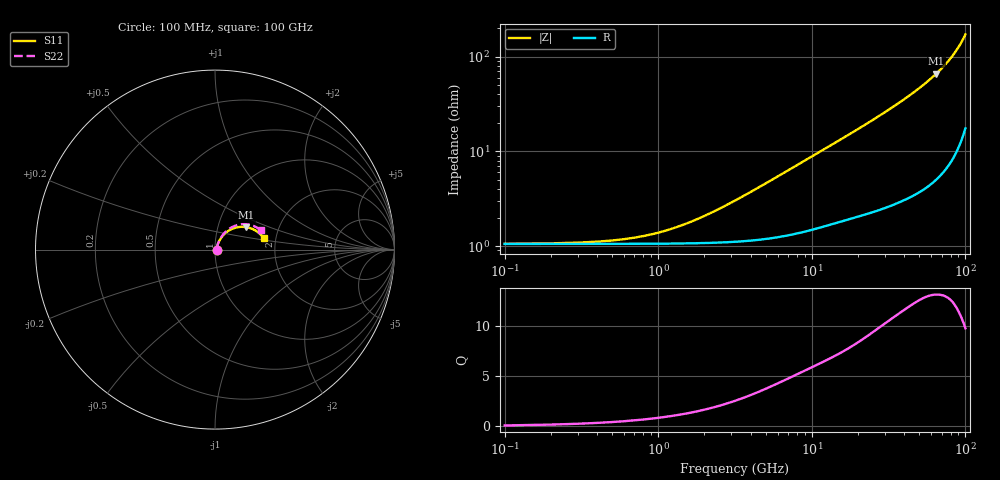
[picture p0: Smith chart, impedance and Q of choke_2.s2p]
#  Hz  S  RI  R  50
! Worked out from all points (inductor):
!   1000 points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, 100 MHz to 100 GHz, reference 50 ohm
!   read as 1/Y11, port 2 shorted: L = 140 pH near 3.9 GHz
!   highest Q = 13.1 at 64.7 GHz (marker M1), where L = 162 pH
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1e8  0.0104 0.000446  0.9896 -0.0013  0.9896 -0.0013  0.0105 0.000446
6e8  0.0105 0.00267  0.9895 -0.0078  0.9895 -0.0078  0.0105 0.00268
1.2e9  0.0106 0.00534  0.9894 -0.0156  0.9894 -0.0156  0.0106 0.00535
3.4e9  0.0118 0.015  0.9879 -0.044  0.9879 -0.044  0.0117 0.015
4.8e9  0.013 0.0209  0.9862 -0.0618  0.9862 -0.0618  0.0129 0.0209
6.1e9  0.0145 0.0262  0.9843 -0.0782  0.9843 -0.0782  0.0142 0.0263
7.5e9  0.0163 0.0317  0.9818 -0.0956  0.9818 -0.0956  0.0159 0.0318
9.4e9  0.0191 0.0388  0.9779 -0.1188  0.9779 -0.1188  0.0186 0.0389
1.15e10  0.0226 0.0461  0.9729 -0.144  0.9729 -0.144  0.0218 0.0463
1.4e10  0.0271 0.0543  0.9663 -0.1733  0.9663 -0.1733  0.0259 0.0546
1.68e10  0.0325 0.0629  0.958 -0.2057  0.958 -0.2057  0.0308 0.0634
2.03e10  0.0399 0.0729  0.9463 -0.2454  0.9463 -0.2454  0.0374 0.0737
2.42e10  0.0488 0.0832  0.9314 -0.2888  0.9314 -0.2887  0.0454 0.0845
2.86e10  0.0599 0.0937  0.9124 -0.3365  0.9124 -0.3364  0.0552 0.0957
3.34e10  0.0731 0.1036  0.8888 -0.3868  0.8888 -0.3868  0.067 0.1066
4.12e10  0.0965 0.116  0.8451 -0.4646  0.8451 -0.4646  0.0879 0.1213
5.01e10  0.1252 0.1245  0.7876 -0.5469  0.7876 -0.5468  0.1136 0.1334
6.47e10  0.1741 0.125  0.6777 -0.6654  0.6778 -0.6653  0.1583 0.1418
6.67e10  0.1808 0.1238  0.6614 -0.6799  0.6615 -0.6799  0.1644 0.1419
8.34e10  0.2324 0.102  0.5153 -0.7853  0.5154 -0.7853  0.2137 0.1324
9.19e10  0.2547 0.0839  0.4356 -0.8275  0.4357 -0.8274  0.2364 0.1212
1e11  0.2726 0.0629  0.3572 -0.8606  0.3573 -0.8606  0.2555 0.107
